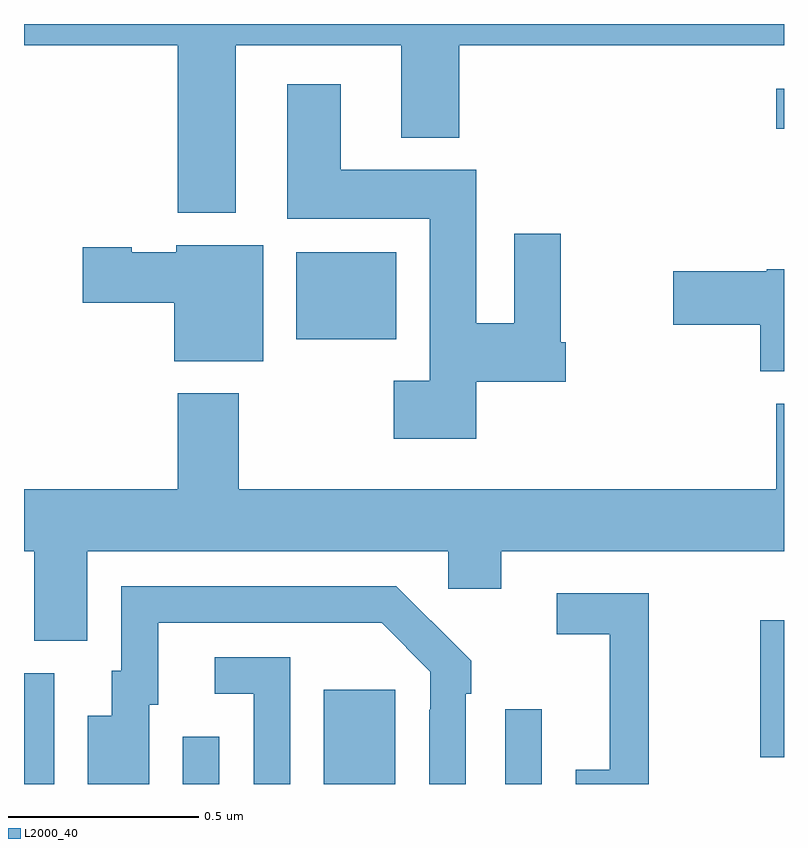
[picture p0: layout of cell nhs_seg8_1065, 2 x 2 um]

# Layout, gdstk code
import gdstk
lib = gdstk.Library(unit=1e-6, precision=1e-09)
def R(c, l, rs):  # rectangles x0, y0, x1, y1
    for r in rs: c.add(gdstk.rectangle(r[:2], r[2:], *l))
def P(c, l, *ps):  # polygons
    for p in ps: c.add(gdstk.Polygon(p, *l))
L2000_40 = (2000, 40)

nhs_seg8_1065 = lib.new_cell('nhs_seg8_1065')
R(nhs_seg8_1065, L2000_40, [(125,1103.9,125.08,1104.192), (125.418,1103.9,125.514,1104.025), (125.789,1103.9,125.977,1104.148), (126.267,1103.9,126.363,1104.097), (126.938,1103.97,127,1104.331), (125.717,1105.07,125.98,1105.3), (126.98,1105.625,127,1105.729)])
P(nhs_seg8_1065, L2000_40, [(125.557,1105.844),(125.993,1105.844),(125.993,1105.601),(126.146,1105.601),(126.146,1105.844),(127,1105.844),(127,1105.9),(125,1105.9),(125,1105.844),(125.405,1105.844),(125.405,1105.403),(125.557,1105.403)],
  [(126.19,1104.959),(126.425,1104.959),(126.425,1105.063),(126.412,1105.063),(126.412,1105.348),(126.29,1105.348),(126.29,1105.112),(126.19,1105.112),(126.19,1105.516),(125.833,1105.516),(125.833,1105.741),(125.693,1105.741),(125.693,1105.388),(126.068,1105.388),(126.068,1104.961),(125.973,1104.961),(125.973,1104.809),(126.19,1104.809)],
  [(125.629,1105.318),(125.4,1105.318),(125.4,1105.3),(125.283,1105.3),(125.283,1105.313),(125.154,1105.313),(125.154,1105.166),(125.396,1105.166),(125.396,1105.013),(125.629,1105.013)],
  [(127,1105.255),(126.954,1105.255),(126.954,1105.25),(126.708,1105.25),(126.708,1105.108),(126.938,1105.108),(126.938,1104.986),(127,1104.986)],
  [(125.167,1104.512),(126.117,1104.512),(126.117,1104.414),(126.256,1104.414),(126.256,1104.512),(127,1104.512),(127,1104.901),(126.979,1104.901),(126.979,1104.676),(125.565,1104.676),(125.565,1104.928),(125.405,1104.928),(125.405,1104.676),(125,1104.676),(125,1104.512),(125.027,1104.512),(125.027,1104.277),(125.167,1104.277)],
  [(125.329,1104.108),(125.353,1104.108),(125.353,1104.324),(125.941,1104.324),(126.069,1104.195),(126.069,1104.095),(126.066,1104.095),(126.066,1103.9),(126.162,1103.9),(126.162,1104.137),(126.177,1104.137),(126.177,1104.225),(126.072,1104.33),(126.071,1104.329),(125.98,1104.42),(125.256,1104.42),(125.256,1104.198),(125.231,1104.198),(125.231,1104.079),(125.168,1104.079),(125.168,1103.9),(125.329,1103.9)],
  [(126.644,1104.402),(126.402,1104.402),(126.402,1104.294),(126.542,1104.294),(126.542,1103.938),(126.452,1103.938),(126.452,1103.9),(126.644,1103.9)],
  [(125.7,1104.234),(125.502,1104.234),(125.502,1104.138),(125.604,1104.138),(125.604,1103.9),(125.7,1103.9)])

lib.write_gds('nhs_seg8_1065.gds')
